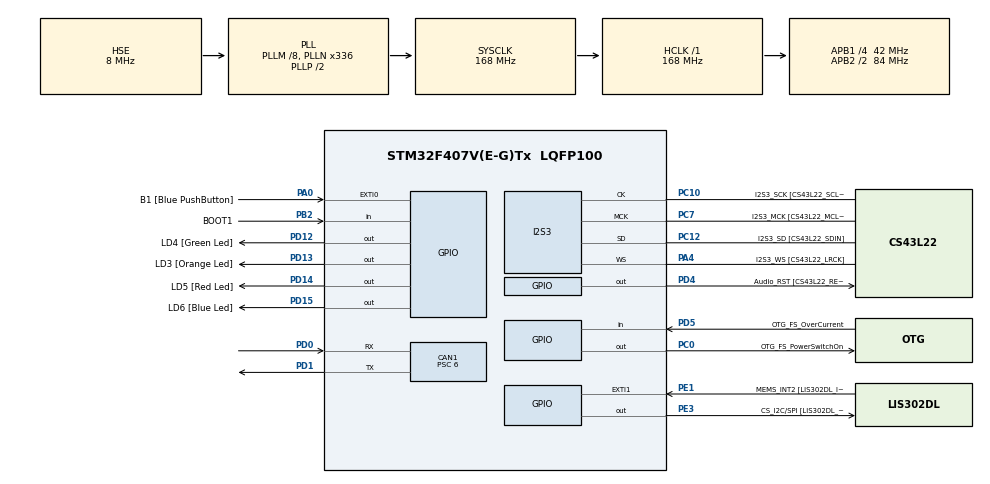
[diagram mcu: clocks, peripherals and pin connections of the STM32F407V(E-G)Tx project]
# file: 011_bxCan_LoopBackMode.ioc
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CAN1.ABOM=ENABLE
CAN1.BS1=CAN_BS1_11TQ
CAN1.BS2=CAN_BS2_2TQ
CAN1.CalculateBaudRate=500000
CAN1.CalculateTimeBit=2000
CAN1.CalculateTimeQuantum=142.85714285714286
CAN1.Mode=CAN_MODE_LOOPBACK
CAN1.Prescaler=6
I2S3.AudioFreq-Half_Duplex_Master=I2S_AUDIOFREQ_96K
I2S3.ErrorAudioFreq=-2.34 %
I2S3.ErrorAudioFreq-Half_Duplex_Master=0.8 %
I2S3.FullDuplexMode=I2S_FULLDUPLEXMODE_DISABLE
I2S3.Instance=SPI$Index
I2S3.RealAudioFreq=93.75 KHz
I2S3.RealAudioFreq-Half_Duplex_Master=96.774 KHz
I2S3.VirtualMode=I2S_MODE_MASTER
Mcu.Family=STM32F4
Mcu.Name=STM32F407V(E-G)Tx
Mcu.Package=LQFP100
NVIC.PriorityGroup=NVIC_PRIORITYGROUP_0
PA0-WKUP.GPIO_Label=B1 [Blue PushButton]
PA0-WKUP.GPIO_ModeDefaultEXTI=GPIO_MODE_EVT_RISING
PA0-WKUP.GPIO_PuPd=GPIO_NOPULL
PA0-WKUP.Signal=GPXTI0
PA10.GPIO_Label=OTG_FS_ID
PA10.GPIO_Mode=GPIO_MODE_AF_PP
PA10.GPIO_PuPd=GPIO_NOPULL
PA10.GPIO_Speed=GPIO_SPEED_FREQ_LOW
PA10.Signal=USB_OTG_FS_ID
PA11.GPIO_Label=OTG_FS_DM
PA11.GPIO_Mode=GPIO_MODE_AF_PP
PA11.GPIO_PuPd=GPIO_NOPULL
PA11.GPIO_Speed=GPIO_SPEED_FREQ_LOW
PA11.Signal=USB_OTG_FS_DM
PA12.GPIO_Label=OTG_FS_DP
PA12.GPIO_Mode=GPIO_MODE_AF_PP
PA12.GPIO_PuPd=GPIO_NOPULL
PA12.GPIO_Speed=GPIO_SPEED_FREQ_LOW
PA12.Signal=USB_OTG_FS_DP
PA13.GPIO_Label=SWDIO
PA13.Mode=Serial_Wire
PA13.Signal=SYS_JTMS-SWDIO
PA14.GPIO_Label=SWCLK
PA14.Mode=Serial_Wire
PA14.Signal=SYS_JTCK-SWCLK
PA4.GPIO_Label=I2S3_WS [CS43L22_LRCK]
PA4.GPIO_Mode=GPIO_MODE_AF_PP
PA4.GPIO_PuPd=GPIO_NOPULL
PA4.GPIO_Speed=GPIO_SPEED_FREQ_LOW
PA4.Mode=Half_Duplex_Master
PA4.Signal=I2S3_WS
PA5.GPIO_Label=SPI1_SCK [LIS302DL_SCL/SPC]
PA5.GPIO_Mode=GPIO_MODE_AF_PP
PA5.GPIO_PuPd=GPIO_NOPULL
PA5.GPIO_Speed=GPIO_SPEED_FREQ_LOW
PA5.Signal=SPI1_SCK
PA6.GPIO_Label=SPI1_MISO [LIS302DL_SDO]
PA6.GPIO_Mode=GPIO_MODE_AF_PP
PA6.GPIO_PuPd=GPIO_NOPULL
PA6.GPIO_Speed=GPIO_SPEED_FREQ_LOW
PA6.Signal=SPI1_MISO
PA7.GPIO_Label=SPI1_MOSI [LIS302DL_SDA/SDI/SDO]
PA7.GPIO_Mode=GPIO_MODE_AF_PP
PA7.GPIO_PuPd=GPIO_NOPULL
PA7.GPIO_Speed=GPIO_SPEED_FREQ_LOW
PA7.Signal=SPI1_MOSI
PA9.GPIO_Label=VBUS_FS
PA9.GPIO_Mode=GPIO_MODE_INPUT
PA9.GPIO_PuPd=GPIO_NOPULL
PA9.Signal=USB_OTG_FS_VBUS
PB10.GPIO_Label=CLK_IN [MP45DT02_CLK]
PB10.GPIO_Mode=GPIO_MODE_AF_PP
PB10.GPIO_PuPd=GPIO_NOPULL
PB10.GPIO_Speed=GPIO_SPEED_FREQ_LOW
PB10.Signal=I2S2_CK
PB2.GPIO_Label=BOOT1
PB2.GPIO_Mode=GPIO_MODE_INPUT
PB2.GPIO_PuPd=GPIO_NOPULL
PB2.Signal=GPIO_Input
PB3.GPIO_Label=SWO
PB3.Signal=SYS_JTDO-SWO
PB6.GPIO_Label=Audio_SCL [CS43L22_SCL]
PB6.GPIO_Mode=GPIO_MODE_AF_OD
PB6.GPIO_Pu=GPIO_PULLUP
PB6.GPIO_PuPd=GPIO_NOPULL
PB6.GPIO_Speed=GPIO_SPEED_FREQ_LOW
PB6.Signal=I2C1_SCL
PB9.GPIO_Label=Audio_SDA [CS43L22_SDA]
PB9.GPIO_Mode=GPIO_MODE_AF_OD
PB9.GPIO_Pu=GPIO_PULLUP
PB9.GPIO_PuPd=GPIO_NOPULL
PB9.GPIO_Speed=GPIO_SPEED_FREQ_LOW
PB9.Signal=I2C1_SDA
PC0.GPIO_Label=OTG_FS_PowerSwitchOn
PC0.GPIO_PuPd=GPIO_NOPULL
PC0.GPIO_Speed=GPIO_SPEED_FREQ_LOW
PC0.PinState=GPIO_PIN_SET
PC0.Signal=GPIO_Output
PC10.GPIO_Label=I2S3_SCK [CS43L22_SCLK]
PC10.GPIO_Mode=GPIO_MODE_AF_PP
PC10.GPIO_PuPd=GPIO_NOPULL
PC10.GPIO_Speed=GPIO_SPEED_FREQ_LOW
PC10.Mode=Half_Duplex_Master
PC10.Signal=I2S3_CK
PC12.GPIO_Label=I2S3_SD [CS43L22_SDIN]
PC12.GPIO_Mode=GPIO_MODE_AF_PP
PC12.GPIO_PuPd=GPIO_NOPULL
PC12.GPIO_Speed=GPIO_SPEED_FREQ_LOW
PC12.Mode=Half_Duplex_Master
PC12.Signal=I2S3_SD
PC14-OSC32_IN.GPIO_Label=PC14-OSC32_IN
PC14-OSC32_IN.Mode=LSE-External-Oscillator
PC14-OSC32_IN.Signal=RCC_OSC32_IN
PC15-OSC32_OUT.GPIO_Label=PC15-OSC32_OUT
PC15-OSC32_OUT.Mode=LSE-External-Oscillator
PC15-OSC32_OUT.Signal=RCC_OSC32_OUT
PC3.GPIO_Label=PDM_OUT [MP45DT02_DOUT]
PC3.GPIO_Mode=GPIO_MODE_AF_PP
PC3.GPIO_PuPd=GPIO_NOPULL
PC3.GPIO_Speed=GPIO_SPEED_FREQ_LOW
PC3.Signal=I2S2_SD
PC7.GPIO_Label=I2S3_MCK [CS43L22_MCLK]
PC7.GPIO_Mode=GPIO_MODE_AF_PP
PC7.GPIO_PuPd=GPIO_NOPULL
PC7.GPIO_Speed=GPIO_SPEED_FREQ_LOW
PC7.Mode=Master_Clock_Activated
PC7.Signal=I2S3_MCK
PD0.GPIO_PuPd=GPIO_PULLUP
PD0.Mode=CAN_Activate
PD0.Signal=CAN1_RX
PD1.GPIO_PuPd=GPIO_PULLUP
PD1.Mode=CAN_Activate
PD1.Signal=CAN1_TX
PD12.GPIO_Label=LD4 [Green Led]
PD12.GPIO_PuPd=GPIO_NOPULL
PD12.GPIO_Speed=GPIO_SPEED_FREQ_LOW
PD12.Signal=GPIO_Output
PD13.GPIO_Label=LD3 [Orange Led]
PD13.GPIO_PuPd=GPIO_NOPULL
PD13.GPIO_Speed=GPIO_SPEED_FREQ_LOW
PD13.Signal=GPIO_Output
PD14.GPIO_Label=LD5 [Red Led]
PD14.GPIO_PuPd=GPIO_NOPULL
PD14.GPIO_Speed=GPIO_SPEED_FREQ_LOW
PD14.Signal=GPIO_Output
PD15.GPIO_Label=LD6 [Blue Led]
PD15.GPIO_PuPd=GPIO_NOPULL
PD15.GPIO_Speed=GPIO_SPEED_FREQ_LOW
PD15.Signal=GPIO_Output
PD4.GPIO_Label=Audio_RST [CS43L22_RESET]
PD4.GPIO_PuPd=GPIO_NOPULL
PD4.GPIO_Speed=GPIO_SPEED_FREQ_LOW
PD4.Signal=GPIO_Output
PD5.GPIO_Label=OTG_FS_OverCurrent
PD5.GPIO_Mode=GPIO_MODE_INPUT
PD5.GPIO_PuPd=GPIO_NOPULL
PD5.Signal=GPIO_Input
PE1.GPIO_Label=MEMS_INT2 [LIS302DL_INT2]
PE1.GPIO_ModeDefaultEXTI=GPIO_MODE_EVT_RISING
PE1.GPIO_PuPd=GPIO_NOPULL
PE1.Signal=GPXTI1
PE3.GPIO_Label=CS_I2C/SPI [LIS302DL_CS_I2C/SPI]
PE3.GPIO_PuPd=GPIO_NOPULL
PE3.GPIO_Speed=GPIO_SPEED_FREQ_LOW
PE3.Signal=GPIO_Output
PH0-OSC_IN.GPIO_Label=PH0-OSC_IN
PH0-OSC_IN.Mode=HSE-External-Oscillator
PH0-OSC_IN.Signal=RCC_OSC_IN
PH1-OSC_OUT.GPIO_Label=PH1-OSC_OUT
PH1-OSC_OUT.Mode=HSE-External-Oscillator
PH1-OSC_OUT.Signal=RCC_OSC_OUT
ProjectManager.HeapSize=0x200
ProjectManager.StackSize=0x400
ProjectManager.TargetToolchain=STM32CubeIDE
RCC.48MHZClocksFreq_Value=48000000
RCC.AHBFreq_Value=168000000
RCC.APB1CLKDivider=RCC_HCLK_DIV4
RCC.APB1Freq_Value=42000000
RCC.APB1TimFreq_Value=84000000
RCC.APB2CLKDivider=RCC_HCLK_DIV2
RCC.APB2Freq_Value=84000000
RCC.APB2TimFreq_Value=168000000
RCC.CortexFreq_Value=168000000
RCC.HCLKFreq_Value=168000000
RCC.HSE_VALUE=8000000
RCC.HSI_VALUE=16000000
RCC.PLLM=8
RCC.PLLN=336
RCC.PLLQ=7
RCC.PLLSourceVirtual=RCC_PLLSOURCE_HSE
RCC.SYSCLKFreq_VALUE=168000000
RCC.SYSCLKSource=RCC_SYSCLKSOURCE_PLLCLK
RCC.VCOOutputFreq_Value=336000000
board=STM32F407G-DISC1

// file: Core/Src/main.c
/* USER CODE BEGIN Header */
/**
  ******************************************************************************
  * @file           : main.c
  * @brief          : Main program body
  ******************************************************************************
  * @attention
  *
  * Copyright (c) 2024 STMicroelectronics.
  * All rights reserved.
  *
  * This software is licensed under terms that can be found in the LICENSE file
  * in the root directory of this software component.
  * If no LICENSE file comes with this software, it is provided AS-IS.
  *
  ******************************************************************************
  */
/* USER CODE END Header */
#include "main.h"

CAN_HandleTypeDef hcan1;

I2S_HandleTypeDef hi2s3;

void SystemClock_Config(void);
static void MX_GPIO_Init(void);
static void MX_I2S3_Init(void);
static void MX_CAN1_Init(void);
/* USER CODE BEGIN PFP */
void Can_Tx(void);
void Can_filterConfig(void);
void Can_Rx(void);
/* USER CODE END PFP */

/* USER CODE BEGIN 0 */
uint8_t rData[5];
/* USER CODE END 0 */

int main(void)
{

  /* MCU Configuration--------------------------------------------------------*/

  /* Reset of all peripherals, Initializes the Flash interface and the Systick. */
  HAL_Init();

  /* Configure the system clock */
  SystemClock_Config();

  /* Initialize all configured peripherals */
  MX_GPIO_Init();
  MX_I2S3_Init();
  MX_CAN1_Init();
  /* USER CODE BEGIN 2 */
  if(HAL_CAN_Start(&hcan1) != HAL_OK)
  {
	Error_Handler();
  }
  Can_filterConfig();
  Can_Tx();
  Can_Rx();
  /* USER CODE END 2 */

  /* Infinite loop */
  while (1)
  {

  }
}

void SystemClock_Config(void)
{
  RCC_OscInitTypeDef RCC_OscInitStruct = {0};
  RCC_ClkInitTypeDef RCC_ClkInitStruct = {0};

  /** Configure the main internal regulator output voltage
  */
  __HAL_RCC_PWR_CLK_ENABLE();
  __HAL_PWR_VOLTAGESCALING_CONFIG(PWR_REGULATOR_VOLTAGE_SCALE1);

  /** Initializes the RCC Oscillators according to the specified parameters
  * in the RCC_OscInitTypeDef structure.
  */
  RCC_OscInitStruct.OscillatorType = RCC_OSCILLATORTYPE_HSE;
  RCC_OscInitStruct.HSEState = RCC_HSE_ON;
  RCC_OscInitStruct.PLL.PLLState = RCC_PLL_ON;
  RCC_OscInitStruct.PLL.PLLSource = RCC_PLLSOURCE_HSE;
  RCC_OscInitStruct.PLL.PLLM = 8;
  RCC_OscInitStruct.PLL.PLLN = 336;
  RCC_OscInitStruct.PLL.PLLP = RCC_PLLP_DIV2;
  RCC_OscInitStruct.PLL.PLLQ = 7;
  if (HAL_RCC_OscConfig(&RCC_OscInitStruct) != HAL_OK)
  {
    Error_Handler();
  }

  /** Initializes the CPU, AHB and APB buses clocks
  */
  RCC_ClkInitStruct.ClockType = RCC_CLOCKTYPE_HCLK|RCC_CLOCKTYPE_SYSCLK
                              |RCC_CLOCKTYPE_PCLK1|RCC_CLOCKTYPE_PCLK2;
  RCC_ClkInitStruct.SYSCLKSource = RCC_SYSCLKSOURCE_PLLCLK;
  RCC_ClkInitStruct.AHBCLKDivider = RCC_SYSCLK_DIV1;
  RCC_ClkInitStruct.APB1CLKDivider = RCC_HCLK_DIV4;
  RCC_ClkInitStruct.APB2CLKDivider = RCC_HCLK_DIV2;

  if (HAL_RCC_ClockConfig(&RCC_ClkInitStruct, FLASH_LATENCY_5) != HAL_OK)
  {
    Error_Handler();
  }
}

static void MX_CAN1_Init(void)
{

  hcan1.Instance = CAN1;
  hcan1.Init.Prescaler = 6;
  hcan1.Init.Mode = CAN_MODE_LOOPBACK;
  hcan1.Init.SyncJumpWidth = CAN_SJW_1TQ;
  hcan1.Init.TimeSeg1 = CAN_BS1_11TQ;
  hcan1.Init.TimeSeg2 = CAN_BS2_2TQ;
  hcan1.Init.TimeTriggeredMode = DISABLE;
  hcan1.Init.AutoBusOff = ENABLE;
  hcan1.Init.AutoWakeUp = DISABLE;
  hcan1.Init.AutoRetransmission = DISABLE;
  hcan1.Init.ReceiveFifoLocked = DISABLE;
  hcan1.Init.TransmitFifoPriority = DISABLE;
  if (HAL_CAN_Init(&hcan1) != HAL_OK)
  {
    Error_Handler();
  }

}

static void MX_I2S3_Init(void)
{

  hi2s3.Instance = SPI3;
  hi2s3.Init.Mode = I2S_MODE_MASTER_TX;
  hi2s3.Init.Standard = I2S_STANDARD_PHILIPS;
  hi2s3.Init.DataFormat = I2S_DATAFORMAT_16B;
  hi2s3.Init.MCLKOutput = I2S_MCLKOUTPUT_ENABLE;
  hi2s3.Init.AudioFreq = I2S_AUDIOFREQ_96K;
  hi2s3.Init.CPOL = I2S_CPOL_LOW;
  hi2s3.Init.ClockSource = I2S_CLOCK_PLL;
  hi2s3.Init.FullDuplexMode = I2S_FULLDUPLEXMODE_DISABLE;
  if (HAL_I2S_Init(&hi2s3) != HAL_OK)
  {
    Error_Handler();
  }

}

static void MX_GPIO_Init(void)
{
  GPIO_InitTypeDef GPIO_InitStruct = {0};

  /* GPIO Ports Clock Enable */
  __HAL_RCC_GPIOE_CLK_ENABLE();
  __HAL_RCC_GPIOC_CLK_ENABLE();
  __HAL_RCC_GPIOH_CLK_ENABLE();
  __HAL_RCC_GPIOA_CLK_ENABLE();
  __HAL_RCC_GPIOB_CLK_ENABLE();
  __HAL_RCC_GPIOD_CLK_ENABLE();

  /*Configure GPIO pin Output Level */
  HAL_GPIO_WritePin(CS_I2C_SPI_GPIO_Port, CS_I2C_SPI_Pin, GPIO_PIN_RESET);

  /*Configure GPIO pin Output Level */
  HAL_GPIO_WritePin(OTG_FS_PowerSwitchOn_GPIO_Port, OTG_FS_PowerSwitchOn_Pin, GPIO_PIN_SET);

  /*Configure GPIO pin Output Level */
  HAL_GPIO_WritePin(GPIOD, LD4_Pin|LD3_Pin|LD5_Pin|LD6_Pin
                          |Audio_RST_Pin, GPIO_PIN_RESET);

  /*Configure GPIO pin : CS_I2C_SPI_Pin */
  GPIO_InitStruct.Pin = CS_I2C_SPI_Pin;
  GPIO_InitStruct.Mode = GPIO_MODE_OUTPUT_PP;
  GPIO_InitStruct.Pull = GPIO_NOPULL;
  GPIO_InitStruct.Speed = GPIO_SPEED_FREQ_LOW;
  HAL_GPIO_Init(CS_I2C_SPI_GPIO_Port, &GPIO_InitStruct);

  /*Configure GPIO pin : OTG_FS_PowerSwitchOn_Pin */
  GPIO_InitStruct.Pin = OTG_FS_PowerSwitchOn_Pin;
  GPIO_InitStruct.Mode = GPIO_MODE_OUTPUT_PP;
  GPIO_InitStruct.Pull = GPIO_NOPULL;
  GPIO_InitStruct.Speed = GPIO_SPEED_FREQ_LOW;
  HAL_GPIO_Init(OTG_FS_PowerSwitchOn_GPIO_Port, &GPIO_InitStruct);

  /*Configure GPIO pin : PDM_OUT_Pin */
  GPIO_InitStruct.Pin = PDM_OUT_Pin;
  GPIO_InitStruct.Mode = GPIO_MODE_AF_PP;
  GPIO_InitStruct.Pull = GPIO_NOPULL;
  GPIO_InitStruct.Speed = GPIO_SPEED_FREQ_LOW;
  GPIO_InitStruct.Alternate = GPIO_AF5_SPI2;
  HAL_GPIO_Init(PDM_OUT_GPIO_Port, &GPIO_InitStruct);

  /*Configure GPIO pin : B1_Pin */
  GPIO_InitStruct.Pin = B1_Pin;
  GPIO_InitStruct.Mode = GPIO_MODE_EVT_RISING;
  GPIO_InitStruct.Pull = GPIO_NOPULL;
  HAL_GPIO_Init(B1_GPIO_Port, &GPIO_InitStruct);

  /*Configure GPIO pins : SPI1_SCK_Pin SPI1_MISO_Pin SPI1_MOSI_Pin */
  GPIO_InitStruct.Pin = SPI1_SCK_Pin|SPI1_MISO_Pin|SPI1_MOSI_Pin;
  GPIO_InitStruct.Mode = GPIO_MODE_AF_PP;
  GPIO_InitStruct.Pull = GPIO_NOPULL;
  GPIO_InitStruct.Speed = GPIO_SPEED_FREQ_LOW;
  GPIO_InitStruct.Alternate = GPIO_AF5_SPI1;
  HAL_GPIO_Init(GPIOA, &GPIO_InitStruct);

  /*Configure GPIO pin : BOOT1_Pin */
  GPIO_InitStruct.Pin = BOOT1_Pin;
  GPIO_InitStruct.Mode = GPIO_MODE_INPUT;
  GPIO_InitStruct.Pull = GPIO_NOPULL;
  HAL_GPIO_Init(BOOT1_GPIO_Port, &GPIO_InitStruct);

  /*Configure GPIO pin : CLK_IN_Pin */
  GPIO_InitStruct.Pin = CLK_IN_Pin;
  GPIO_InitStruct.Mode = GPIO_MODE_AF_PP;
  GPIO_InitStruct.Pull = GPIO_NOPULL;
  GPIO_InitStruct.Speed = GPIO_SPEED_FREQ_LOW;
  GPIO_InitStruct.Alternate = GPIO_AF5_SPI2;
  HAL_GPIO_Init(CLK_IN_GPIO_Port, &GPIO_InitStruct);

  /*Configure GPIO pins : LD4_Pin LD3_Pin LD5_Pin LD6_Pin
                           Audio_RST_Pin */
  GPIO_InitStruct.Pin = LD4_Pin|LD3_Pin|LD5_Pin|LD6_Pin
                          |Audio_RST_Pin;
  GPIO_InitStruct.Mode = GPIO_MODE_OUTPUT_PP;
  GPIO_InitStruct.Pull = GPIO_NOPULL;
  GPIO_InitStruct.Speed = GPIO_SPEED_FREQ_LOW;
  HAL_GPIO_Init(GPIOD, &GPIO_InitStruct);

  /*Configure GPIO pin : VBUS_FS_Pin */
  GPIO_InitStruct.Pin = VBUS_FS_Pin;
  GPIO_InitStruct.Mode = GPIO_MODE_INPUT;
  GPIO_InitStruct.Pull = GPIO_NOPULL;
  HAL_GPIO_Init(VBUS_FS_GPIO_Port, &GPIO_InitStruct);

  /*Configure GPIO pins : OTG_FS_ID_Pin OTG_FS_DM_Pin OTG_FS_DP_Pin */
  GPIO_InitStruct.Pin = OTG_FS_ID_Pin|OTG_FS_DM_Pin|OTG_FS_DP_Pin;
  GPIO_InitStruct.Mode = GPIO_MODE_AF_PP;
  GPIO_InitStruct.Pull = GPIO_NOPULL;
  GPIO_InitStruct.Speed = GPIO_SPEED_FREQ_LOW;
  GPIO_InitStruct.Alternate = GPIO_AF10_OTG_FS;
  HAL_GPIO_Init(GPIOA, &GPIO_InitStruct);

  /*Configure GPIO pin : OTG_FS_OverCurrent_Pin */
  GPIO_InitStruct.Pin = OTG_FS_OverCurrent_Pin;
  GPIO_InitStruct.Mode = GPIO_MODE_INPUT;
  GPIO_InitStruct.Pull = GPIO_NOPULL;
  HAL_GPIO_Init(OTG_FS_OverCurrent_GPIO_Port, &GPIO_InitStruct);

  /*Configure GPIO pins : Audio_SCL_Pin Audio_SDA_Pin */
  GPIO_InitStruct.Pin = Audio_SCL_Pin|Audio_SDA_Pin;
  GPIO_InitStruct.Mode = GPIO_MODE_AF_OD;
  GPIO_InitStruct.Pull = GPIO_PULLUP;
  GPIO_InitStruct.Speed = GPIO_SPEED_FREQ_LOW;
  GPIO_InitStruct.Alternate = GPIO_AF4_I2C1;
  HAL_GPIO_Init(GPIOB, &GPIO_InitStruct);

  /*Configure GPIO pin : MEMS_INT2_Pin */
  GPIO_InitStruct.Pin = MEMS_INT2_Pin;
  GPIO_InitStruct.Mode = GPIO_MODE_EVT_RISING;
  GPIO_InitStruct.Pull = GPIO_NOPULL;
  HAL_GPIO_Init(MEMS_INT2_GPIO_Port, &GPIO_InitStruct);

}

/* USER CODE BEGIN 4 */
void Can_filterConfig(void)
{
	CAN_FilterTypeDef CanFilter;
	CanFilter.FilterActivation = CAN_FILTER_ENABLE;
	CanFilter.FilterBank = 0;
	CanFilter.FilterFIFOAssignment = CAN_FILTER_FIFO0;
	CanFilter.FilterIdHigh = 0;
	CanFilter.FilterIdLow = 0;
	CanFilter.FilterMaskIdHigh = 0;
	CanFilter.FilterMaskIdLow = 0;
	CanFilter.FilterMode = CAN_FILTERMODE_IDMASK;
	CanFilter.FilterScale = CAN_FILTERSCALE_32BIT;

	if(HAL_CAN_ConfigFilter(&hcan1, &CanFilter) != HAL_OK)
	{
		Error_Handler();
	}
}
void Can_Rx(void)
{
	CAN_RxHeaderTypeDef pHeader;
	while(!HAL_CAN_GetRxFifoFillLevel(&hcan1, CAN_RX_FIFO0));
	if(HAL_CAN_GetRxMessage(&hcan1, CAN_RX_FIFO0, &pHeader, rData) != HAL_OK)
	{
		Error_Handler();
	}
}
void Can_Tx(void)
{
	uint8_t Data[5] = "hello";
	uint32_t pTxMailbox;
	CAN_TxHeaderTypeDef txHeader;
	txHeader.DLC = 5;
	txHeader.ExtId = 0x0000;
	txHeader.IDE = CAN_ID_STD;
	txHeader.RTR = CAN_RTR_DATA;
	txHeader.StdId = 0x65D;
	txHeader.TransmitGlobalTime = DISABLE ;
	if(HAL_CAN_AddTxMessage(&hcan1, &txHeader, Data, &pTxMailbox) != HAL_OK)
	{
		Error_Handler();
	}
	while(HAL_CAN_IsTxMessagePending(&hcan1, pTxMailbox));
}
/* USER CODE END 4 */

void Error_Handler(void)
{
  __disable_irq();
  while (1)
  {
  }
}
